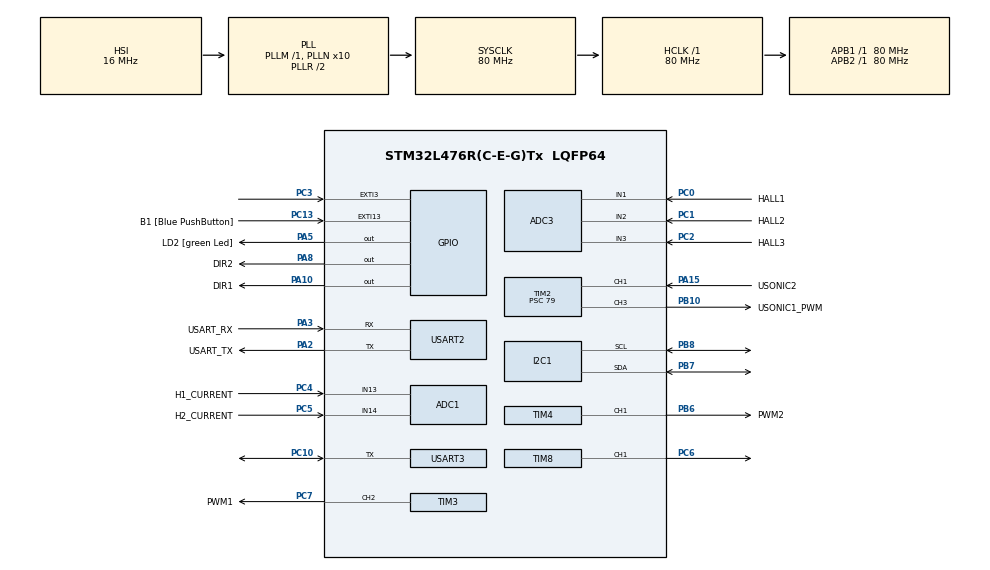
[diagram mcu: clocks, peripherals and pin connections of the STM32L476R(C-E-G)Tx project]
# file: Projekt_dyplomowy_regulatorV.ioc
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ADC1.Channel-0\#ChannelRegularConversion=ADC_CHANNEL_13
ADC1.Channel-1\#ChannelRegularConversion=ADC_CHANNEL_14
ADC1.ContinuousConvMode=ENABLE
ADC1.DMAContinuousRequests=ENABLE
ADC1.NbrOfConversion=2
ADC1.NbrOfConversionFlag=1
ADC1.OffsetNumber-0\#ChannelRegularConversion=ADC_OFFSET_NONE
ADC1.OffsetNumber-1\#ChannelRegularConversion=ADC_OFFSET_NONE
ADC1.OversamplingMode=ENABLE
ADC1.Rank-0\#ChannelRegularConversion=1
ADC1.Rank-1\#ChannelRegularConversion=2
ADC1.Ratio=ADC_OVERSAMPLING_RATIO_256
ADC1.RightBitShift=ADC_RIGHTBITSHIFT_8
ADC1.SamplingTime-0\#ChannelRegularConversion=ADC_SAMPLETIME_640CYCLES_5
ADC1.SamplingTime-1\#ChannelRegularConversion=ADC_SAMPLETIME_640CYCLES_5
ADC1.master=1
ADC3.Channel-0\#ChannelRegularConversion=ADC_CHANNEL_1
ADC3.Channel-1\#ChannelRegularConversion=ADC_CHANNEL_2
ADC3.Channel-2\#ChannelRegularConversion=ADC_CHANNEL_3
ADC3.ClockPrescaler=ADC_CLOCK_ASYNC_DIV1
ADC3.ContinuousConvMode=ENABLE
ADC3.DMAContinuousRequests=ENABLE
ADC3.NbrOfConversion=3
ADC3.NbrOfConversionFlag=1
ADC3.OffsetNumber-0\#ChannelRegularConversion=ADC_OFFSET_NONE
ADC3.OffsetNumber-1\#ChannelRegularConversion=ADC_OFFSET_NONE
ADC3.OffsetNumber-2\#ChannelRegularConversion=ADC_OFFSET_NONE
ADC3.OversamplingMode=ENABLE
ADC3.Rank-0\#ChannelRegularConversion=1
ADC3.Rank-1\#ChannelRegularConversion=2
ADC3.Rank-2\#ChannelRegularConversion=3
ADC3.Ratio=ADC_OVERSAMPLING_RATIO_16
ADC3.RightBitShift=ADC_RIGHTBITSHIFT_4
ADC3.SamplingTime-0\#ChannelRegularConversion=ADC_SAMPLETIME_640CYCLES_5
ADC3.SamplingTime-1\#ChannelRegularConversion=ADC_SAMPLETIME_640CYCLES_5
ADC3.SamplingTime-2\#ChannelRegularConversion=ADC_SAMPLETIME_640CYCLES_5
Dma.ADC1.0.Direction=DMA_PERIPH_TO_MEMORY
Dma.ADC1.0.Instance=DMA1_Channel1
Dma.ADC1.0.MemDataAlignment=DMA_MDATAALIGN_HALFWORD
Dma.ADC1.0.MemInc=DMA_MINC_ENABLE
Dma.ADC1.0.Mode=DMA_CIRCULAR
Dma.ADC1.0.PeriphDataAlignment=DMA_PDATAALIGN_HALFWORD
Dma.ADC1.0.PeriphInc=DMA_PINC_DISABLE
Dma.ADC1.0.Priority=DMA_PRIORITY_LOW
Dma.ADC3.1.Direction=DMA_PERIPH_TO_MEMORY
Dma.ADC3.1.Instance=DMA1_Channel3
Dma.ADC3.1.MemDataAlignment=DMA_MDATAALIGN_HALFWORD
Dma.ADC3.1.MemInc=DMA_MINC_ENABLE
Dma.ADC3.1.Mode=DMA_CIRCULAR
Dma.ADC3.1.PeriphDataAlignment=DMA_PDATAALIGN_HALFWORD
Dma.ADC3.1.PeriphInc=DMA_PINC_DISABLE
Dma.ADC3.1.Priority=DMA_PRIORITY_LOW
Dma.Request0=ADC1
Dma.Request1=ADC3
Dma.Request2=USART2_TX
Dma.USART2_TX.2.Direction=DMA_MEMORY_TO_PERIPH
Dma.USART2_TX.2.Instance=DMA1_Channel7
Dma.USART2_TX.2.MemDataAlignment=DMA_MDATAALIGN_BYTE
Dma.USART2_TX.2.MemInc=DMA_MINC_ENABLE
Dma.USART2_TX.2.Mode=DMA_NORMAL
Dma.USART2_TX.2.PeriphDataAlignment=DMA_PDATAALIGN_BYTE
Dma.USART2_TX.2.PeriphInc=DMA_PINC_DISABLE
Dma.USART2_TX.2.Priority=DMA_PRIORITY_LOW
I2C1.Timing=0x10909CEC
Mcu.Family=STM32L4
Mcu.Name=STM32L476R(C-E-G)Tx
Mcu.Package=LQFP64
NVIC.ADC1_2_IRQn=true\:5\:0\:true\:true\:true\:2\:true\:true\:true
NVIC.ADC3_IRQn=true\:1\:0\:true\:true\:true\:1\:true\:true\:true
NVIC.DMA1_Channel1_IRQn=true\:0\:0\:false\:true\:true\:6\:false\:true\:true
NVIC.DMA1_Channel3_IRQn=true\:0\:0\:false\:true\:true\:5\:false\:true\:true
NVIC.DMA1_Channel7_IRQn=true\:0\:0\:false\:true\:true\:7\:false\:true\:true
NVIC.PriorityGroup=NVIC_PRIORITYGROUP_4
NVIC.TIM3_IRQn=true\:2\:0\:true\:true\:true\:3\:true\:true\:true
NVIC.TIM4_IRQn=true\:2\:0\:true\:true\:true\:4\:true\:true\:true
NVIC.USART2_IRQn=true\:6\:0\:true\:true\:true\:8\:true\:true\:true
PA10.GPIO_Label=DIR1
PA10.Signal=GPIO_Output
PA13\ (JTMS-SWDIO).GPIO_Label=TMS
PA13\ (JTMS-SWDIO).Mode=Serial_Wire
PA13\ (JTMS-SWDIO).Signal=SYS_JTMS-SWDIO
PA14\ (JTCK-SWCLK).GPIO_Label=TCK
PA14\ (JTCK-SWCLK).Mode=Serial_Wire
PA14\ (JTCK-SWCLK).Signal=SYS_JTCK-SWCLK
PA15\ (JTDI).GPIO_Label=USONIC2
PA15\ (JTDI).Signal=S_TIM2_CH1
PA2.GPIO_Label=USART_TX
PA2.GPIO_Mode=GPIO_MODE_AF_PP
PA2.GPIO_PuPd=GPIO_NOPULL
PA2.GPIO_Speed=GPIO_SPEED_FREQ_VERY_HIGH
PA2.Mode=Asynchronous
PA2.Signal=USART2_TX
PA3.GPIO_Label=USART_RX
PA3.GPIO_Mode=GPIO_MODE_AF_PP
PA3.GPIO_PuPd=GPIO_NOPULL
PA3.GPIO_Speed=GPIO_SPEED_FREQ_VERY_HIGH
PA3.Mode=Asynchronous
PA3.Signal=USART2_RX
PA5.GPIO_Label=LD2 [green Led]
PA5.GPIO_ModeDefaultOutputPP=GPIO_MODE_OUTPUT_PP
PA5.GPIO_PuPd=GPIO_NOPULL
PA5.GPIO_Speed=GPIO_SPEED_FREQ_LOW
PA5.Signal=GPIO_Output
PA8.GPIO_Label=DIR2
PA8.Signal=GPIO_Output
PB10.GPIO_Label=USONIC1_PWM
PB10.Signal=S_TIM2_CH3
PB3\ (JTDO-TRACESWO).GPIO_Label=SWO
PB3\ (JTDO-TRACESWO).Signal=SYS_JTDO-SWO
PB6.GPIO_Label=PWM2
PB6.Signal=S_TIM4_CH1
PB7.Mode=I2C
PB7.Signal=I2C1_SDA
PB8.Mode=I2C
PB8.Signal=I2C1_SCL
PC0.GPIO_Label=HALL1
PC0.Signal=ADCx_IN1
PC1.GPIO_Label=HALL2
PC1.Signal=ADCx_IN2
PC10.Mode=Half_duplex(single_wire_mode)
PC10.Signal=USART3_TX
PC13.GPIO_Label=B1 [Blue PushButton]
PC13.GPIO_ModeDefaultEXTI=GPIO_MODE_IT_FALLING
PC13.GPIO_PuPd=GPIO_NOPULL
PC13.Signal=GPXTI13
PC14-OSC32_IN\ (PC14).Mode=LSE-External-Oscillator
PC14-OSC32_IN\ (PC14).Signal=RCC_OSC32_IN
PC15-OSC32_OUT\ (PC15).Mode=LSE-External-Oscillator
PC15-OSC32_OUT\ (PC15).Signal=RCC_OSC32_OUT
PC2.GPIO_Label=HALL3
PC2.Signal=ADCx_IN3
PC3.Signal=GPXTI3
PC4.GPIO_Label=H1_CURRENT
PC4.Signal=ADCx_IN13
PC5.GPIO_Label=H2_CURRENT
PC5.Signal=ADCx_IN14
PC6.Signal=S_TIM8_CH1
PC7.GPIO_Label=PWM1
PC7.Signal=S_TIM3_CH2
PH0-OSC_IN\ (PH0).Signal=RCC_OSC_IN
PH1-OSC_OUT\ (PH1).Signal=RCC_OSC_OUT
ProjectManager.HeapSize=0x200
ProjectManager.StackSize=0x400
ProjectManager.TargetToolchain=STM32CubeIDE
RCC.ADCFreq_Value=64000000
RCC.AHBFreq_Value=80000000
RCC.APB1Freq_Value=80000000
RCC.APB1TimFreq_Value=80000000
RCC.APB2Freq_Value=80000000
RCC.APB2TimFreq_Value=80000000
RCC.CortexFreq_Value=80000000
RCC.HCLKFreq_Value=80000000
RCC.HSE_VALUE=8000000
RCC.HSI_VALUE=16000000
RCC.MSI_VALUE=4000000
RCC.PLLN=10
RCC.PLLSourceVirtual=RCC_PLLSOURCE_HSI
RCC.PREFETCH_ENABLE=1
RCC.SYSCLKFreq_VALUE=80000000
RCC.SYSCLKSource=RCC_SYSCLKSOURCE_PLLCLK
RCC.USBFreq_Value=64000000
RCC.VCOOutputFreq_Value=160000000
SH.ADCx_IN1.0=ADC3_IN1,IN1-Single-Ended
SH.ADCx_IN13.0=ADC1_IN13,IN13-Single-Ended
SH.ADCx_IN14.0=ADC1_IN14,IN14-Single-Ended
SH.ADCx_IN2.0=ADC3_IN2,IN2-Single-Ended
SH.ADCx_IN3.0=ADC3_IN3,IN3-Single-Ended
SH.S_TIM2_CH1.0=TIM2_CH1,Input_Capture1_from_TI1
SH.S_TIM2_CH3.0=TIM2_CH3,PWM Generation3 CH3
SH.S_TIM3_CH2.0=TIM3_CH2,PWM Generation2 CH2
SH.S_TIM4_CH1.0=TIM4_CH1,PWM Generation1 CH1
SH.S_TIM8_CH1.0=TIM8_CH1,PWM Generation1 CH1
TIM2.Channel-Input_Capture1_from_TI1=TIM_CHANNEL_1
TIM2.Channel-Input_Capture2_from_TI1_63=TIM_CHANNEL_2
TIM2.Channel-PWM\ Generation3\ CH3=TIM_CHANNEL_3
TIM2.ICFilter_CH1=1
TIM2.ICPolarity_CH1=TIM_INPUTCHANNELPOLARITY_RISING
TIM2.ICPolarity_CH2=TIM_INPUTCHANNELPOLARITY_FALLING
TIM2.Period=99999
TIM2.Prescaler=79
TIM2.Pulse-PWM\ Generation3\ CH3=10
TIM3.Channel-PWM\ Generation2\ CH2=TIM_CHANNEL_2
TIM3.Period=99
TIM3.Prescaler=79
TIM4.Channel-PWM\ Generation1\ CH1=TIM_CHANNEL_1
TIM4.Period=99
TIM4.Prescaler=79
TIM8.Channel-PWM\ Generation1\ CH1=TIM_CHANNEL_1
TIM8.Period=49999
TIM8.Prescaler=79
TIM8.Pulse-PWM\ Generation1\ CH1=10
USART2.AutoBaudRateEnableParam=UART_ADVFEATURE_AUTOBAUDRATE_DISABLE
USART2.VirtualMode-Asynchronous=VM_ASYNC
USART3.BaudRate=9600
USART3.OverSampling=UART_OVERSAMPLING_8
USART3.OverrunDisableParam=ADVFEATURE_OVERRUN_DISABLE
USART3.VirtualMode-Half_duplex(single_wire_mode)=VM_ASYNC
VP_TIM2_VS_ClockSourceINT.Mode=Internal
VP_TIM2_VS_indirect_ch1.Mode=Input_Capture2_from_TI1_63
VP_TIM3_VS_ClockSourceINT.Mode=Internal
VP_TIM4_VS_ClockSourceINT.Mode=Internal
VP_TIM8_VS_ClockSourceINT.Mode=Internal
board=NUCLEO-L476RG

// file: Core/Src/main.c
/* USER CODE BEGIN Header */
/**
 ******************************************************************************
 * @file           : main.c
 * @brief          : Main program body
 ******************************************************************************
 * @attention
 *
 * Copyright (c) 2024 STMicroelectronics.
 * All rights reserved.
 *
 * This software is licensed under terms that can be found in the LICENSE file
 * in the root directory of this software component.
 * If no LICENSE file comes with this software, it is provided AS-IS.
 *
 ******************************************************************************
 */
/* USER CODE END Header */
#include "main.h"
#include "adc.h"
#include "dma.h"
#include "i2c.h"
#include "tim.h"
#include "usart.h"
#include "gpio.h"

/* USER CODE BEGIN Includes */
#include "stdio.h"
#include "stdlib.h"
#include "string.h"
#include "hbridge.h"
#include "PID.h"
#include "wire.h"
#include "ds18b20.h"
#include "DigitalFilters.h"
/* USER CODE END Includes */

/* USER CODE BEGIN PD */
// Soft Timers
#define HEART_BEAT_TIMER_PERIOD 500
#define TEMP_COILS_PERIOD		749
#define SHOW_TEMP				10000
#define UC_SAMPLE_PERIOD		1
#define VELOCITY_PERIOD			(UC_SAMPLE_PERIOD * 2)
#define CONTROL_TIMER_PERIOD	(VELOCITY_PERIOD * 1)

// ADC
#define ADC_MAX_VALUE 			4095
#define ADC_OFFSET_HALL 		2044
#define ADC_OFFSET_CURRENT_1 	1505
#define ADC_OFFSET_CURRENT_2 	1509
#define VREF 					3.3
#define SENSITIVITY_HALL 		3.125 // mV/Gauss
#define GAUSS_TO_TESLA 			1e-4
#define SENSITIVITY_CURRENT 	0.2 // V/A

// PID
#define PID_Kp 					4
#define PID_Ki 					6
#define PID_Kd 					0
#define PID_WIND_UP 			50

#define VELOCITY_SET			30

// HBridge Control
#define DEAD_ZONE 				500
#define MAX_PWM					90
#define MIN_PWM					30
#define PROP_CONST				0.011
#define POSITION_TOLERANCE		2.0f

// UART Buffer
#define LINE_MAX_LENGTH 6

/* USER CODE END PD */

/* USER CODE BEGIN PV */
volatile static uint16_t ADC_CURRENT[2], ADC_HALL[3];
float CURRENT[2];
extern uint8_t ROM_NO[8];
uint32_t stop1, start1, stop2, start2;
float sonic_speed, x, xset, velocity, uc_left, HALL[3];
CircularBuffer filter_median, filter_moving_average;
FilterLowPass lpf_position, lpf_velocity;
uint8_t uart_rx_buffer;
uint8_t input_done = 0;
int8_t direction = 1;
uint8_t lastZeroCrossing = 0;
static char line_buffer[LINE_MAX_LENGTH + 1];
static uint32_t line_length;
/* USER CODE END PV */

void SystemClock_Config(void);
void PeriphCommonClock_Config(void);
static void MX_NVIC_Init(void);
/* USER CODE BEGIN PFP */
float HallCalculateTesla(uint16_t ADC_val);
static float CalculateSoundSpeed(float temp1);

/* USER CODE END PFP */

/* USER CODE BEGIN 0 */
static float CalculateSoundSpeed(float temp)
{
	return 331.8f + 0.6f * temp;
}

float CalculateCurrent(int16_t ADC_CURRENT)
{
	return (ADC_CURRENT * VREF / ADC_MAX_VALUE) / SENSITIVITY_CURRENT;
}

float HallCalculateTesla(uint16_t ADC_val)
{
	return (float) ((ADC_val - ADC_OFFSET_HALL) * VREF / ADC_MAX_VALUE * 1000
			/ SENSITIVITY_HALL * GAUSS_TO_TESLA);
}

int16_t HBridgeCalculatePWM_max(int32_t HALL)
{
	if (HALL < DEAD_ZONE && HALL > -DEAD_ZONE)
		return 0;
	else if (HALL > DEAD_ZONE)
		return MAX_PWM;
	else
		return -MAX_PWM;
}

int16_t HBridgeCalculatePWM_prop(int32_t HALL)
{
	if (HALL > 1800 && HALL < 2000)
		return -30;
	else if (HALL >= 2000 && HALL < 2200)
		return 30;
	else
		return 0.125 * HALL - 250;
}

void LineAppend(uint8_t value)
{
	if (value == '\r' || value == '\n')
	{
		// odebraliśmy znak końca linii
		if (line_length > 0)
		{
			// dodajemy 0 na końcu linii
			line_buffer[line_length] = '\0';
			// przetwarzamy dane
			xset = atoi(line_buffer);
			input_done = 1;
			// zaczynamy zbieranie danych od nowa
			line_length = 0;
		}
	}
	else
	{
		if (line_length >= LINE_MAX_LENGTH)
		{
			// za dużo danych, usuwamy wszystko co odebraliśmy dotychczas
			line_length = 0;
		}
		// dopisujemy wartość do bufora
		line_buffer[line_length++] = value;
	}
}

/* USER CODE END 0 */

int main(void)
{

	/* MCU Configuration--------------------------------------------------------*/

	/* Reset of all peripherals, Initializes the Flash interface and the Systick. */
	HAL_Init();

	/* Configure the system clock */
	SystemClock_Config();

	/* Configure the peripherals common clocks */
	PeriphCommonClock_Config();

	/* Initialize all configured peripherals */
	MX_GPIO_Init();
	MX_DMA_Init();
	MX_USART2_UART_Init();
	MX_ADC1_Init();
	MX_ADC3_Init();
	MX_TIM2_Init();
	MX_TIM3_Init();
	MX_USART3_UART_Init();
	MX_TIM4_Init();
	MX_TIM8_Init();
	MX_I2C1_Init();

	/* Initialize interrupts */
	MX_NVIC_Init();
	/* USER CODE BEGIN 2 */
	// UART
	// ADC
	HAL_ADCEx_Calibration_Start(&hadc3, ADC_SINGLE_ENDED);
	HAL_ADC_Start_DMA(&hadc3, (uint32_t*) ADC_HALL, 3);

	HAL_ADCEx_Calibration_Start(&hadc1, ADC_SINGLE_ENDED);
	HAL_ADC_Start_DMA(&hadc1, (uint32_t*) ADC_CURRENT, 2);

//	float HALL[3] = { 0 };

	// H-Bridge
	HBridge coil1, coil2;
	int16_t coil1_PWM = 0, coil2_PWM = 0;
	HBridgeInit(&coil1, DIR1_GPIO_Port, DIR1_Pin, &htim3, TIM_CHANNEL_2);
	HBridgeInit(&coil2, DIR2_GPIO_Port, DIR2_Pin, &htim4, TIM_CHANNEL_1);

	// PI Regulator
	PID pid;
	PIDInit(&pid, PID_Kp, PID_Ki, PID_Kd, PID_WIND_UP);
	int16_t PID_output = 0;
	// Measure temperature for USonic Sensors
	uint8_t ds[2][8] =
	{ 0 };
	int16_t rslt = OW_Search_First();
	uint8_t i = 0;
	while (rslt)
	{
		// print device found
		for (int j = 0; j < 8; j++)
		{
			ds[i][j] = ROM_NO[j];
		}
		i++;
		rslt = OW_Search_Next();
	}
	ds18b20_start_measure(ds[0]);
	ds18b20_start_measure(ds[1]);
	HAL_Delay(750);
	float temp_coils = ds18b20_get_temp(ds[0]) / 16.0f;
	float temp_air = ds18b20_get_temp(ds[1]) / 16.0f;
	sonic_speed = CalculateSoundSpeed(temp_air) / 20000.0f;

	uint8_t wait_or_get = 1;
	uint8_t critical_temp = 0;
	uint8_t send_once = 0;
	uint8_t x_calculate = 0;

	// Start the Timers
	HAL_TIM_IC_Start(&htim2, TIM_CHANNEL_1);
	HAL_TIM_IC_Start(&htim2, TIM_CHANNEL_2);
	HAL_TIM_PWM_Start(&htim2, TIM_CHANNEL_3);
//	HAL_TIM_PWM_Start(&htim8, TIM_CHANNEL_1);
	HAL_TIM_PWM_Start(&htim3, TIM_CHANNEL_2);
	HAL_TIM_PWM_Start(&htim4, TIM_CHANNEL_1);
	HAL_Delay(100);

	// Init the moving average filters
	FilterMedianInit(&filter_median);
	FilterMovingAverageInit(&filter_moving_average);
	FilterLowPassInit(&lpf_position, 0.01);
	FilterLowPassInit(&lpf_velocity, 0.02);

	// Software Timers
	uint32_t TimerHeartBeat = HAL_GetTick();
	uint32_t TimerControl = HAL_GetTick();
	uint32_t TimerTempCoils = HAL_GetTick();
	uint32_t TimerShowTemp = HAL_GetTick();
	uint32_t TimerUCSample = HAL_GetTick();
	uint32_t TimerVelocity = HAL_GetTick();
	// Start UART to receive user input
	HAL_UART_Receive_IT(&huart2, &uart_rx_buffer, 1);
	uint8_t Message[72];
	uint8_t Length;
	int vel_set = VELOCITY_SET;
	float x_prev = 0;
	/* USER CODE END 2 */

	/* Infinite loop */
	/* USER CODE BEGIN WHILE */
	while (1)
	{

		if ((HAL_GetTick() - TimerUCSample) > UC_SAMPLE_PERIOD)
		{

			static uint16_t start_message = 0;
			start1 = HAL_TIM_ReadCapturedValue(&htim2, TIM_CHANNEL_1);
			stop1 = HAL_TIM_ReadCapturedValue(&htim2, TIM_CHANNEL_2);
			uint16_t input1 = FilterMedianUpdate(&filter_median, (stop1 - start1));
			x = FilterLowPassUpdate(&lpf_position, input1) * sonic_speed;
			velocity = abs(FilterLowPassUpdate(&lpf_velocity, (x - x_prev) / ((HAL_GetTick() - TimerUCSample) * 0.001)));
//			CURRENT[0] = CalculateCurrent(ADC_CURRENT[0] - ADC_OFFSET_CURRENT_1)
//					* 2;
//			CURRENT[1] = CalculateCurrent(ADC_CURRENT[1] - ADC_OFFSET_CURRENT_2)
//					* 2;
			if (start_message > 1000)
			{
				x_calculate = 1;
			}
			else
			{
				start_message++;
			}

			TimerUCSample = HAL_GetTick();
		}

		if ((HAL_GetTick() - TimerVelocity) > VELOCITY_PERIOD)
		{
//			velocity = abs(
//					FilterLowPassUpdate(&lpf_velocity,
//							(x - x_prev) / (0.001 * VELOCITY_PERIOD)));
			x_prev = x;
//			HALL[0] = HallCalculateTesla(ADC_HALL[0]);
//			HALL[1] = HallCalculateTesla(ADC_HALL[1]);
//			HALL[2] = HallCalculateTesla(ADC_HALL[2]);
			TimerVelocity = HAL_GetTick();
		}

		if (!send_once && !critical_temp && x_calculate)
		{
			Length = sprintf((char*) Message,
					"Actual x = %.1f Temp: %.1f\n\rGive x:\n\r", x, temp_coils);
			HAL_UART_Transmit_DMA(&huart2, Message, Length);
			send_once = 1;
		}
		// Main Control
		if (((HAL_GetTick() - TimerControl) > CONTROL_TIMER_PERIOD)
				&& input_done && !critical_temp)
		{
			if (abs(xset - x) >= POSITION_TOLERANCE)
			{

//				PID_output = abs(PIDCalculate(&pid, (int) vel_set, (int) velocity));
				PID_output = 1;

				// Go left
				if (x > xset)
				{
					coil1_PWM = HBridgeCalculatePWM_max(
							(ADC_HALL[0] - ADC_OFFSET_HALL));
					coil2_PWM = HBridgeCalculatePWM_max(
							-(ADC_HALL[2] - ADC_OFFSET_HALL));
//					coil1_PWM = HBridgeCalculatePWM_prop(
//							(ADC_HALL[0]));
//					coil2_PWM = HBridgeCalculatePWM_prop(
//							(ADC_HALL[2]));
				}
				// Go right
				else if (x < xset)
				{
					coil1_PWM = HBridgeCalculatePWM_max(
							-(ADC_HALL[0] - ADC_OFFSET_HALL));
					coil2_PWM = HBridgeCalculatePWM_max(
							(ADC_HALL[2] - ADC_OFFSET_HALL));
//					coil1_PWM = HBridgeCalculatePWM_prop(
//							(ADC_HALL[0]));
//					coil2_PWM = HBridgeCalculatePWM_prop(
//							(ADC_HALL[2]));
				}
				HBridgeControl(&coil1, PID_output * coil1_PWM);
				HBridgeControl(&coil2, PID_output * coil2_PWM);

				Length =
						sprintf((char*) Message,
								"x: %.1f PWM1: %d PWM2: %d I1: %.1f I2: %.1f B1: %.4f B2: %.4f\n\r",
								x, coil1_PWM * PID_output,
								coil2_PWM * PID_output, CURRENT[0], CURRENT[1],
								HALL[0], HALL[2]);
				HAL_UART_Transmit_DMA(&huart2, Message, Length);

			}
			else
			{
				// Stop
				PIDReset(&pid);
				HBridgeControl(&coil1, 0);
				HBridgeControl(&coil2, 0);

//				Length = sprintf((char*)Message, "Done!\n\r");
//				HAL_UART_Transmit_DMA(&huart2, Message, Length);

				input_done = 0;
				send_once = 0;
			}
			TimerControl = HAL_GetTick();
		}

		// Termometers
		if ((HAL_GetTick() - TimerTempCoils) > TEMP_COILS_PERIOD)
		{
			// Start the measure
			if (wait_or_get)
			{
				ds18b20_start_measure(ds[0]);
				wait_or_get = 0;
			}
			// Get the value
			else if (!wait_or_get)
			{
				temp_coils = ds18b20_get_temp(ds[0]) / 16.0f;
				wait_or_get = 1;
				//Check if the coils are not too hot
				// If so, disable the control
				if (temp_coils > 45.0f && !critical_temp)
				{
					critical_temp = 1;
					HBridgeControl(&coil1, 0);
					HBridgeControl(&coil2, 0);
					Length = sprintf((char*) Message,
							"Coils' temperature is too high: %.1f\n\r",
							temp_coils);
					HAL_UART_Transmit_DMA(&huart2, Message, Length);
				}
				// After cooling enable the control
				else if (critical_temp && temp_coils < 35.0f)
				{
					critical_temp = 0;
					Length = sprintf((char*) Message,
							"Coils cooled down and are ready to use!\n\r");
					HAL_UART_Transmit_DMA(&huart2, Message, Length);

					input_done = 0;
					send_once = 0;
				}

			}
			TimerTempCoils = HAL_GetTick();
		}

		if (((HAL_GetTick() - TimerShowTemp) > SHOW_TEMP) && critical_temp)
		{
			Length = sprintf((char*) Message, "Actual T: %.1f\n\r", temp_coils);
			HAL_UART_Transmit_DMA(&huart2, Message, Length);
			printf("Actual T: %.1f\n\r", temp_coils);
			TimerShowTemp = HAL_GetTick();
		}

		// Blinking LD2 to show correct flow of the program
		if ((HAL_GetTick() - TimerHeartBeat) > HEART_BEAT_TIMER_PERIOD)
		{
			HAL_GPIO_TogglePin(LD2_GPIO_Port, LD2_Pin);
			TimerHeartBeat = HAL_GetTick();
		}

		/* USER CODE END WHILE */

	}
}

void SystemClock_Config(void)
{
	RCC_OscInitTypeDef RCC_OscInitStruct =
	{ 0 };
	RCC_ClkInitTypeDef RCC_ClkInitStruct =
	{ 0 };

	/** Configure the main internal regulator output voltage
	 */
	if (HAL_PWREx_ControlVoltageScaling(PWR_REGULATOR_VOLTAGE_SCALE1) != HAL_OK)
	{
		Error_Handler();
	}

	/** Initializes the RCC Oscillators according to the specified parameters
	 * in the RCC_OscInitTypeDef structure.
	 */
	RCC_OscInitStruct.OscillatorType = RCC_OSCILLATORTYPE_HSI;
	RCC_OscInitStruct.HSIState = RCC_HSI_ON;
	RCC_OscInitStruct.HSICalibrationValue = RCC_HSICALIBRATION_DEFAULT;
	RCC_OscInitStruct.PLL.PLLState = RCC_PLL_ON;
	RCC_OscInitStruct.PLL.PLLSource = RCC_PLLSOURCE_HSI;
	RCC_OscInitStruct.PLL.PLLM = 1;
	RCC_OscInitStruct.PLL.PLLN = 10;
	RCC_OscInitStruct.PLL.PLLP = RCC_PLLP_DIV7;
	RCC_OscInitStruct.PLL.PLLQ = RCC_PLLQ_DIV2;
	RCC_OscInitStruct.PLL.PLLR = RCC_PLLR_DIV2;
	if (HAL_RCC_OscConfig(&RCC_OscInitStruct) != HAL_OK)
	{
		Error_Handler();
	}

	/** Initializes the CPU, AHB and APB buses clocks
	 */
	RCC_ClkInitStruct.ClockType = RCC_CLOCKTYPE_HCLK | RCC_CLOCKTYPE_SYSCLK
			| RCC_CLOCKTYPE_PCLK1 | RCC_CLOCKTYPE_PCLK2;
	RCC_ClkInitStruct.SYSCLKSource = RCC_SYSCLKSOURCE_PLLCLK;
	RCC_ClkInitStruct.AHBCLKDivider = RCC_SYSCLK_DIV1;
	RCC_ClkInitStruct.APB1CLKDivider = RCC_HCLK_DIV1;
	RCC_ClkInitStruct.APB2CLKDivider = RCC_HCLK_DIV1;

	if (HAL_RCC_ClockConfig(&RCC_ClkInitStruct, FLASH_LATENCY_4) != HAL_OK)
	{
		Error_Handler();
	}
}

void PeriphCommonClock_Config(void)
{
	RCC_PeriphCLKInitTypeDef PeriphClkInit =
	{ 0 };

	/** Initializes the peripherals clock
	 */
	PeriphClkInit.PeriphClockSelection = RCC_PERIPHCLK_ADC;
	PeriphClkInit.AdcClockSelection = RCC_ADCCLKSOURCE_PLLSAI1;
	PeriphClkInit.PLLSAI1.PLLSAI1Source = RCC_PLLSOURCE_HSI;
	PeriphClkInit.PLLSAI1.PLLSAI1M = 1;
	PeriphClkInit.PLLSAI1.PLLSAI1N = 8;
	PeriphClkInit.PLLSAI1.PLLSAI1P = RCC_PLLP_DIV7;
	PeriphClkInit.PLLSAI1.PLLSAI1Q = RCC_PLLQ_DIV2;
	PeriphClkInit.PLLSAI1.PLLSAI1R = RCC_PLLR_DIV2;
	PeriphClkInit.PLLSAI1.PLLSAI1ClockOut = RCC_PLLSAI1_ADC1CLK;
	if (HAL_RCCEx_PeriphCLKConfig(&PeriphClkInit) != HAL_OK)
	{
		Error_Handler();
	}
}

/**
 * @brief NVIC Configuration.
 * @retval None
 */
static void MX_NVIC_Init(void)
{
	/* ADC3_IRQn interrupt configuration */
	HAL_NVIC_SetPriority(ADC3_IRQn, 1, 0);
	HAL_NVIC_EnableIRQ(ADC3_IRQn);
	/* ADC1_2_IRQn interrupt configuration */
	HAL_NVIC_SetPriority(ADC1_2_IRQn, 5, 0);
	HAL_NVIC_EnableIRQ(ADC1_2_IRQn);
	/* TIM3_IRQn interrupt configuration */
	HAL_NVIC_SetPriority(TIM3_IRQn, 2, 0);
	HAL_NVIC_EnableIRQ(TIM3_IRQn);
	/* TIM4_IRQn interrupt configuration */
	HAL_NVIC_SetPriority(TIM4_IRQn, 2, 0);
	HAL_NVIC_EnableIRQ(TIM4_IRQn);
	/* DMA1_Channel3_IRQn interrupt configuration */
	HAL_NVIC_SetPriority(DMA1_Channel3_IRQn, 0, 0);
	HAL_NVIC_EnableIRQ(DMA1_Channel3_IRQn);
	/* DMA1_Channel1_IRQn interrupt configuration */
	HAL_NVIC_SetPriority(DMA1_Channel1_IRQn, 0, 0);
	HAL_NVIC_EnableIRQ(DMA1_Channel1_IRQn);
	/* DMA1_Channel7_IRQn interrupt configuration */
	HAL_NVIC_SetPriority(DMA1_Channel7_IRQn, 0, 0);
	HAL_NVIC_EnableIRQ(DMA1_Channel7_IRQn);
	/* USART2_IRQn interrupt configuration */
	HAL_NVIC_SetPriority(USART2_IRQn, 6, 0);
	HAL_NVIC_EnableIRQ(USART2_IRQn);
}

/* USER CODE BEGIN 4 */

void HAL_UART_RxCpltCallback(UART_HandleTypeDef *huart)
{
	if (huart == &huart2)
	{
		LineAppend(uart_rx_buffer);
		HAL_UART_Receive_IT(huart, &uart_rx_buffer, 1);
	}
}

void HAL_ADC_ConvCpltCallback(ADC_HandleTypeDef *hadc)
{

}
/* USER CODE END 4 */

void Error_Handler(void)
{
	__disable_irq();
	while (1)
	{
	}
}
